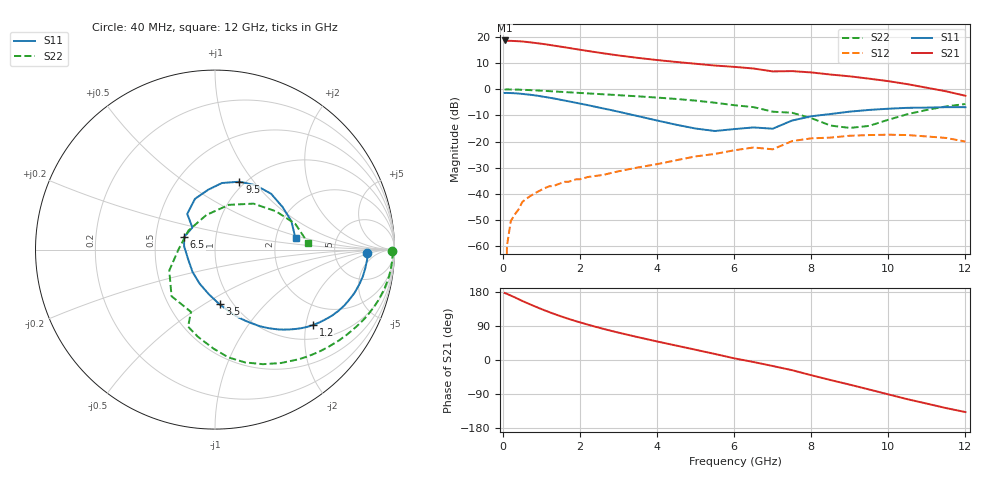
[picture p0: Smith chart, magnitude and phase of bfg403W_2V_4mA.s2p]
! Filename: 24bfg403.001
! BFG403W Field A1
! V1=8.890E-001V,V2=2.000E+000V, I1=6.049E-005A, I2=4.000E-003A
# GHz  S  MA  R 50
!  S11  S21  S12  S22
!Freq(GHz)  Mag  Ang  Mag  Ang  Mag  Ang  Mag  Ang
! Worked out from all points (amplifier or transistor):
!   44 points, 40 MHz to 12 GHz, reference 50 ohm
!   highest |S21| = 18.6 dB at 40 MHz (marker M1)
!   |S21| within 3 dB of that: start of sweep to 1.765 GHz
!   S11 on the Smith chart (normalised r, x): 40 MHz: 12, -2; 1.2 GHz: 1.37, -2.20; 3.5 GHz: 0.87, -0.58; 6.5 GHz: 0.70, +0.10; 9.5 GHz: 0.94, +0.85; 12 GHz: 2.58, +0.41
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0.04  0.847 -1.4  8.552 176.8  0 120.5  0.988 -0.6
0.1  0.85 -3.5  8.429 174.7  0.001 92.9  0.99 -2.0
0.2  0.844 -6.9  8.399 170.0  0.003 84.7  0.988 -4.3
0.4  0.827 -13.5  8.271 160.7  0.005 80.5  0.981 -8.8
0.5  0.814 -17.2  8.181 155.8  0.007 76.6  0.975 -10.9
0.7  0.785 -23.4  7.871 147.0  0.009 72.8  0.961 -15.0
1  0.728 -32.3  7.393 134.2  0.012 67.3  0.936 -20.9
1.2  0.689 -37.6  7.04 126.3  0.014 64.5  0.919 -24.5
1.6  0.607 -47.2  6.333 111.9  0.017 60.4  0.882 -31.3
1.9  0.549 -53.5  5.833 102.2  0.019 58.2  0.857 -36.1
2.2  0.496 -59.5  5.385 93.3  0.021 57.0  0.832 -40.7
2.8  0.4 -70.9  4.631 77.2  0.025 55.6  0.785 -49.6
3.5  0.306 -85.3  3.971 60.3  0.032 53.8  0.731 -59.8
4.5  0.209 -113.9  3.315 37.9  0.044 47.9  0.651 -75.0
5.5  0.159 -159.8  2.834 15.9  0.058 37.1  0.552 -90.8
6.5  0.186 157.6  2.488 -5.3  0.077 26.3  0.455 -109.2
7  0.176 135.7  2.189 -15.9  0.071 24.4  0.372 -111.1
7.5  0.252 127.9  2.219 -26.8  0.102 13.4  0.355 -133.0
8.5  0.336 96.4  1.908 -52.9  0.119 -12.5  0.202 179.0
9.5  0.402 70.2  1.592 -77.8  0.133 -37.1  0.199 103.9
10.5  0.441 44.9  1.248 -103.5  0.133 -64.0  0.334 50.1
12  0.453 8.0  0.75 -137.4  0.1 -107.5  0.521 3.8
